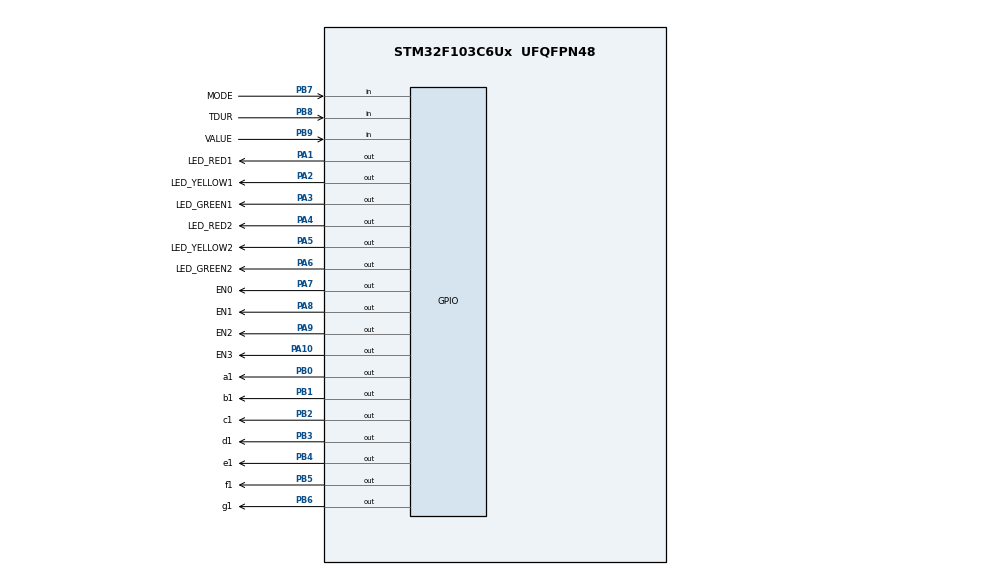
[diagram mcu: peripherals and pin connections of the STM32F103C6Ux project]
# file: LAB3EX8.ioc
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Mcu.Family=STM32F1
Mcu.Name=STM32F103C6Ux
Mcu.Package=UFQFPN48
NVIC.PriorityGroup=NVIC_PRIORITYGROUP_4
NVIC.TIM2_IRQn=true\:0\:0\:false\:false\:true\:true\:true
PA1.GPIO_Label=LED_RED1
PA1.Signal=GPIO_Output
PA10.GPIO_Label=EN3
PA10.Signal=GPIO_Output
PA2.GPIO_Label=LED_YELLOW1
PA2.Signal=GPIO_Output
PA3.GPIO_Label=LED_GREEN1
PA3.Signal=GPIO_Output
PA4.GPIO_Label=LED_RED2
PA4.Signal=GPIO_Output
PA5.GPIO_Label=LED_YELLOW2
PA5.Signal=GPIO_Output
PA6.GPIO_Label=LED_GREEN2
PA6.Signal=GPIO_Output
PA7.GPIO_Label=EN0
PA7.Signal=GPIO_Output
PA8.GPIO_Label=EN1
PA8.Signal=GPIO_Output
PA9.GPIO_Label=EN2
PA9.Signal=GPIO_Output
PB0.GPIO_Label=a1
PB0.Signal=GPIO_Output
PB1.GPIO_Label=b1
PB1.Signal=GPIO_Output
PB2.GPIO_Label=c1
PB2.Signal=GPIO_Output
PB3.GPIO_Label=d1
PB3.Signal=GPIO_Output
PB4.GPIO_Label=e1
PB4.Signal=GPIO_Output
PB5.GPIO_Label=f1
PB5.Signal=GPIO_Output
PB6.GPIO_Label=g1
PB6.Signal=GPIO_Output
PB7.GPIO_Label=MODE
PB7.Signal=GPIO_Input
PB8.GPIO_Label=TDUR
PB8.Signal=GPIO_Input
PB9.GPIO_Label=VALUE
PB9.Signal=GPIO_Input
ProjectManager.HeapSize=0x200
ProjectManager.StackSize=0x400
ProjectManager.TargetToolchain=STM32CubeIDE
RCC.APB1Freq_Value=8000000
RCC.APB2Freq_Value=8000000
TIM2.Period=9
TIM2.Prescaler=7999
VP_SYS_VS_ND.Mode=No_Debug
VP_TIM2_VS_ClockSourceINT.Mode=Internal
board=custom

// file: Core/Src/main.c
/* USER CODE BEGIN Header */
/**
  ******************************************************************************
  * @file           : main.c
  * @brief          : Main program body
  ******************************************************************************
  * @attention
  *
  * <h2><center>&copy; Copyright (c) 2026 STMicroelectronics.
  * All rights reserved.</center></h2>
  *
  * This software component is licensed by ST under BSD 3-Clause license,
  * the "License"; You may not use this file except in compliance with the
  * License. You may obtain a copy of the License at:
  *                        opensource.org/licenses/BSD-3-Clause
  *
  ******************************************************************************
  */
/* USER CODE END Header */
#include "main.h"

/* USER CODE BEGIN Includes */
#include "input_reading.h"
#include "input_processing.h"
/* USER CODE END Includes */

/* USER CODE BEGIN PD */
#define MIN_TRAFFIC_DURATION        1U
#define MAX_TRAFFIC_DURATION        99U
#define SEVEN_SEGMENT_DIGIT_TIME_MS 200U
/* USER CODE END PD */

TIM_HandleTypeDef htim2;

/* USER CODE BEGIN PV */
volatile uint16_t trafficTick10ms = 0;
volatile uint32_t timerElapsedMs = 0;

uint8_t trafficState = 0;
uint8_t remainingSeconds = 3;

uint8_t redDuration = 5;
uint8_t amberDuration = 2;
uint8_t greenDuration = 3;
static uint8_t redDurationLocked = 0U;

uint8_t digitBuffer[4] = {0, 3, 0, 1};
uint8_t currentDigit = 0;
uint32_t lastScanMs = 0;
/* USER CODE END PV */

void SystemClock_Config(void);
static void MX_GPIO_Init(void);
static void MX_TIM2_Init(void);
/* USER CODE BEGIN PFP */
void setTrafficLights(uint8_t red1, uint8_t yellow1,
                      uint8_t green1, uint8_t red2,
                      uint8_t yellow2, uint8_t green2);
void display7SEG(int num);
void updateDisplayBuffer(uint8_t firstValue, uint8_t secondValue);
void applyTrafficState(void);
void nextTrafficState(void);
void updateTrafficDisplay(void);
void updateBlinkingLeds(uint8_t mode, uint8_t ledState);
static void disableAllDigits(void);
static void scan7SEG(void);
/* USER CODE END PFP */

/* USER CODE BEGIN 0 */

void setTrafficLights(uint8_t red1, uint8_t yellow1,
					  uint8_t green1, uint8_t red2,
					  uint8_t yellow2, uint8_t green2)
{
	HAL_GPIO_WritePin(LED_RED1_GPIO_Port, LED_RED1_Pin, red1? GPIO_PIN_SET: GPIO_PIN_RESET);
	HAL_GPIO_WritePin(LED_YELLOW1_GPIO_Port, LED_YELLOW1_Pin, yellow1? GPIO_PIN_SET: GPIO_PIN_RESET);
	HAL_GPIO_WritePin(LED_GREEN1_GPIO_Port, LED_GREEN1_Pin, green1? GPIO_PIN_SET: GPIO_PIN_RESET);
	HAL_GPIO_WritePin(LED_RED2_GPIO_Port, LED_RED2_Pin, red2? GPIO_PIN_SET: GPIO_PIN_RESET);
	HAL_GPIO_WritePin(LED_YELLOW2_GPIO_Port, LED_YELLOW2_Pin, yellow2? GPIO_PIN_SET: GPIO_PIN_RESET);
	HAL_GPIO_WritePin(LED_GREEN2_GPIO_Port, LED_GREEN2_Pin, green2? GPIO_PIN_SET: GPIO_PIN_RESET);
}

void display7SEG(int num)
{
    static const uint8_t code[10][7] = {
        {1,1,1,1,1,1,0}, // 0
        {0,1,1,0,0,0,0}, // 1
        {1,1,0,1,1,0,1}, // 2
        {1,1,1,1,0,0,1}, // 3
        {0,1,1,0,0,1,1}, // 4
        {1,0,1,1,0,1,1}, // 5
        {1,0,1,1,1,1,1}, // 6
        {1,1,1,0,0,0,0}, // 7
        {1,1,1,1,1,1,1}, // 8
        {1,1,1,1,0,1,1}  // 9
    };

    uint16_t pins[7] = {
        a1_Pin, b1_Pin, c1_Pin,
        d1_Pin, e1_Pin, f1_Pin, g1_Pin
    };

    if (num < 0 || num > 9) num = 0;
    for (uint8_t i = 0; i < 7; i++) {
        HAL_GPIO_WritePin(GPIOB, pins[i],
            code[num][i] ? GPIO_PIN_RESET : GPIO_PIN_SET);
    }
}

static void disableAllDigits(void)
{
    HAL_GPIO_WritePin(GPIOA, EN0_Pin | EN1_Pin | EN2_Pin | EN3_Pin, GPIO_PIN_SET);
}

static void scan7SEG(void)
{
    uint32_t now = HAL_GetTick();
    if ((uint32_t)(now - lastScanMs) < SEVEN_SEGMENT_DIGIT_TIME_MS) return;
    lastScanMs = now;

    disableAllDigits();
    display7SEG(digitBuffer[currentDigit]);

    switch (currentDigit) {
        case 0: HAL_GPIO_WritePin(EN0_GPIO_Port, EN0_Pin, GPIO_PIN_RESET); break;
        case 1: HAL_GPIO_WritePin(EN1_GPIO_Port, EN1_Pin, GPIO_PIN_RESET); break;
        case 2: HAL_GPIO_WritePin(EN2_GPIO_Port, EN2_Pin, GPIO_PIN_RESET); break;
        default: HAL_GPIO_WritePin(EN3_GPIO_Port, EN3_Pin, GPIO_PIN_RESET); break;
    }
    currentDigit = (uint8_t)((currentDigit + 1U) % 4U);
}

static uint8_t limitDisplayValue(uint16_t value)
{
    if (value < 1U) return 1U;
    if (value > 99U) return 99U;
    return (uint8_t)value;
}

void updateDisplayBuffer(uint8_t firstValue, uint8_t secondValue)
{
    firstValue = limitDisplayValue(firstValue);
    secondValue = limitDisplayValue(secondValue);

    digitBuffer[0] = firstValue / 10U;
    digitBuffer[1] = firstValue % 10U;
    digitBuffer[2] = secondValue / 10U;
    digitBuffer[3] = secondValue % 10U;
}

void applyTrafficState(void)
{
    switch (trafficState) {
        case 0: setTrafficLights(0, 0, 1, 1, 0, 0); break;
        case 1: setTrafficLights(0, 1, 0, 1, 0, 0); break;
        case 2: setTrafficLights(1, 0, 0, 0, 0, 1); break;
        case 3: setTrafficLights(1, 0, 0, 0, 1, 0); break;
        default:
            trafficState = 0;
            setTrafficLights(0, 0, 1, 1, 0, 0);
            break;
    }
}

void nextTrafficState(void)
{
    trafficState = (uint8_t)((trafficState + 1U) % 4U);
    switch (trafficState) {
        case 0: remainingSeconds = greenDuration; break;
        case 1: remainingSeconds = amberDuration; break;
        case 2:
            remainingSeconds = (redDuration > amberDuration)
                             ? (uint8_t)(redDuration - amberDuration) : 1U;
            break;
        case 3: remainingSeconds = amberDuration; break;
        default: remainingSeconds = greenDuration; break;
    }
    applyTrafficState();
}

void updateTrafficDisplay(void)
{
    uint8_t mode = get_current_mode();
    uint8_t value;

    if (mode == 1U) {
        uint16_t road1Value;
        uint16_t road2Value;

        switch (trafficState) {
            case 0:
                road1Value = remainingSeconds;
                road2Value = (uint16_t)remainingSeconds + amberDuration;
                break;
            case 1:
                road1Value = remainingSeconds;
                road2Value = remainingSeconds;
                break;
            case 2:
                road1Value = (uint16_t)remainingSeconds + amberDuration;
                road2Value = remainingSeconds;
                break;
            case 3:
            default:
                road1Value = remainingSeconds;
                road2Value = remainingSeconds;
                break;
        }

        updateDisplayBuffer(limitDisplayValue(road1Value),
                            limitDisplayValue(road2Value));
        return;
    }

    switch (mode) {
        case 2: value = get_red_edit_value(); break;
        case 3: value = get_amber_edit_value(); break;
        case 4: value = get_green_edit_value(); break;
        default: mode = 1U; value = remainingSeconds; break;
    }

    updateDisplayBuffer(value, mode);
}

void updateBlinkingLeds(uint8_t mode, uint8_t ledState)
{
    switch (mode) {
        case 2: setTrafficLights(ledState, 0, 0, ledState, 0, 0); break;
        case 3: setTrafficLights(0, ledState, 0, 0, ledState, 0); break;
        case 4: setTrafficLights(0, 0, ledState, 0, 0, ledState); break;
        default: break;
    }
}

static uint8_t clampDuration(uint8_t value, uint8_t minimum, uint8_t maximum)
{
    if (value < minimum) return minimum;
    if (value > maximum) return maximum;
    return value;
}

void setRedDuration(uint8_t value)
{
    redDuration = clampDuration(value,
                                (uint8_t)(2U * MIN_TRAFFIC_DURATION),
                                MAX_TRAFFIC_DURATION);

    if (amberDuration >= redDuration) {
        amberDuration = (uint8_t)(redDuration - MIN_TRAFFIC_DURATION);
    }

    greenDuration = (uint8_t)(redDuration - amberDuration);
    redDurationLocked = 1U;
}
void setAmberDuration(uint8_t value)
{
    uint8_t maximumAmber;

    if (redDurationLocked) {
        maximumAmber = (uint8_t)(redDuration - MIN_TRAFFIC_DURATION);
        amberDuration = clampDuration(value,
                                      MIN_TRAFFIC_DURATION,
                                      maximumAmber);
        greenDuration = (uint8_t)(redDuration - amberDuration);
        return;
    }

    maximumAmber = (uint8_t)(MAX_TRAFFIC_DURATION - greenDuration);
    amberDuration = clampDuration(value, MIN_TRAFFIC_DURATION, maximumAmber);
    redDuration = (uint8_t)(greenDuration + amberDuration);
}
void setGreenDuration(uint8_t value)
{
    uint8_t maximumGreen;

    if (redDurationLocked) {
        maximumGreen = (uint8_t)(redDuration - MIN_TRAFFIC_DURATION);
        greenDuration = clampDuration(value,
                                      MIN_TRAFFIC_DURATION,
                                      maximumGreen);
        amberDuration = (uint8_t)(redDuration - greenDuration);
        return;
    }

    maximumGreen = (uint8_t)(MAX_TRAFFIC_DURATION - amberDuration);
    greenDuration = clampDuration(value, MIN_TRAFFIC_DURATION, maximumGreen);
    redDuration = (uint8_t)(greenDuration + amberDuration);
}

uint8_t isRedDurationLocked(void)
{
    return redDurationLocked;
}
/* USER CODE END 0 */

int main(void)
{

  /* MCU Configuration--------------------------------------------------------*/

  /* Reset of all peripherals, Initializes the Flash interface and the Systick. */
  HAL_Init();

  /* Configure the system clock */
  SystemClock_Config();

  MX_GPIO_Init();
  MX_TIM2_Init();
  /* USER CODE BEGIN 2 */
  HAL_TIM_Base_Start_IT(&htim2);

  trafficState = 0;
  remainingSeconds = greenDuration;
  applyTrafficState();
  updateTrafficDisplay();

  uint32_t lastBlinkMs = 0;
  uint32_t lastSecondMs = timerElapsedMs;
  uint8_t blinkState = 0;
  uint8_t lastMode = 0;
  /* USER CODE END 2 */

  while (1)
  {

    /* USER CODE BEGIN 3 */
	    uint32_t now = timerElapsedMs;

	    fsm_for_input_processing();
	    processDurationButtons();
	    uint8_t mode = get_current_mode();

	    updateTrafficDisplay();
	    scan7SEG();

	    if (mode != lastMode) {
	        lastMode = mode;
	        if (mode == 1U) {
	            trafficState = 0U;
	            remainingSeconds = greenDuration;
	            lastSecondMs = now;
	            applyTrafficState();
	            updateTrafficDisplay();
	        } else {
	            lastBlinkMs = now;
	            blinkState = 1U;
	            updateBlinkingLeds(mode, blinkState);
	        }
	    }

	    if (mode == 1U) {
	        while ((uint32_t)(now - lastSecondMs) >= 1000U) {
	            lastSecondMs += 1000U;
	            if (remainingSeconds > 0U) remainingSeconds--;
	            if (remainingSeconds == 0U) nextTrafficState();
	            updateTrafficDisplay();
	        }
	    } else if ((uint32_t)(now - lastBlinkMs) >= 250U) {
	        lastBlinkMs += 250U;
	        blinkState ^= 1U;
	        updateBlinkingLeds(mode, blinkState);
	    }
  }
  /* USER CODE END 3 */
}

void SystemClock_Config(void)
{
  RCC_OscInitTypeDef RCC_OscInitStruct = {0};
  RCC_ClkInitTypeDef RCC_ClkInitStruct = {0};

  RCC_OscInitStruct.OscillatorType = RCC_OSCILLATORTYPE_HSI;
  RCC_OscInitStruct.HSIState = RCC_HSI_ON;
  RCC_OscInitStruct.HSICalibrationValue = RCC_HSICALIBRATION_DEFAULT;
  RCC_OscInitStruct.PLL.PLLState = RCC_PLL_NONE;
  if (HAL_RCC_OscConfig(&RCC_OscInitStruct) != HAL_OK)
  {
    Error_Handler();
  }
  RCC_ClkInitStruct.ClockType = RCC_CLOCKTYPE_HCLK|RCC_CLOCKTYPE_SYSCLK
                              |RCC_CLOCKTYPE_PCLK1|RCC_CLOCKTYPE_PCLK2;
  RCC_ClkInitStruct.SYSCLKSource = RCC_SYSCLKSOURCE_HSI;
  RCC_ClkInitStruct.AHBCLKDivider = RCC_SYSCLK_DIV1;
  RCC_ClkInitStruct.APB1CLKDivider = RCC_HCLK_DIV1;
  RCC_ClkInitStruct.APB2CLKDivider = RCC_HCLK_DIV1;

  if (HAL_RCC_ClockConfig(&RCC_ClkInitStruct, FLASH_LATENCY_0) != HAL_OK)
  {
    Error_Handler();
  }
}

static void MX_TIM2_Init(void)
{

  TIM_ClockConfigTypeDef sClockSourceConfig = {0};
  TIM_MasterConfigTypeDef sMasterConfig = {0};

  htim2.Instance = TIM2;
  htim2.Init.Prescaler = 7999;
  htim2.Init.CounterMode = TIM_COUNTERMODE_UP;
  htim2.Init.Period = 9;
  htim2.Init.ClockDivision = TIM_CLOCKDIVISION_DIV1;
  htim2.Init.AutoReloadPreload = TIM_AUTORELOAD_PRELOAD_DISABLE;
  if (HAL_TIM_Base_Init(&htim2) != HAL_OK)
  {
    Error_Handler();
  }
  sClockSourceConfig.ClockSource = TIM_CLOCKSOURCE_INTERNAL;
  if (HAL_TIM_ConfigClockSource(&htim2, &sClockSourceConfig) != HAL_OK)
  {
    Error_Handler();
  }
  sMasterConfig.MasterOutputTrigger = TIM_TRGO_RESET;
  sMasterConfig.MasterSlaveMode = TIM_MASTERSLAVEMODE_DISABLE;
  if (HAL_TIMEx_MasterConfigSynchronization(&htim2, &sMasterConfig) != HAL_OK)
  {
    Error_Handler();
  }

}

static void MX_GPIO_Init(void)
{
  GPIO_InitTypeDef GPIO_InitStruct = {0};

  /* GPIO Ports Clock Enable */
  __HAL_RCC_GPIOA_CLK_ENABLE();
  __HAL_RCC_GPIOB_CLK_ENABLE();

  /*Configure GPIO pin Output Level */
  HAL_GPIO_WritePin(GPIOA, LED_RED1_Pin|LED_YELLOW1_Pin|LED_GREEN1_Pin|LED_RED2_Pin
                          |LED_YELLOW2_Pin|LED_GREEN2_Pin|EN0_Pin|EN1_Pin
                          |EN2_Pin|EN3_Pin, GPIO_PIN_RESET);

  HAL_GPIO_WritePin(GPIOB, a1_Pin|b1_Pin|c1_Pin|d1_Pin
                          |e1_Pin|f1_Pin|g1_Pin, GPIO_PIN_RESET);

  GPIO_InitStruct.Pin = LED_RED1_Pin|LED_YELLOW1_Pin|LED_GREEN1_Pin|LED_RED2_Pin
                          |LED_YELLOW2_Pin|LED_GREEN2_Pin|EN0_Pin|EN1_Pin
                          |EN2_Pin|EN3_Pin;
  GPIO_InitStruct.Mode = GPIO_MODE_OUTPUT_PP;
  GPIO_InitStruct.Pull = GPIO_NOPULL;
  GPIO_InitStruct.Speed = GPIO_SPEED_FREQ_LOW;
  HAL_GPIO_Init(GPIOA, &GPIO_InitStruct);

  GPIO_InitStruct.Pin = a1_Pin|b1_Pin|c1_Pin|d1_Pin
                          |e1_Pin|f1_Pin|g1_Pin;
  GPIO_InitStruct.Mode = GPIO_MODE_OUTPUT_PP;
  GPIO_InitStruct.Pull = GPIO_NOPULL;
  GPIO_InitStruct.Speed = GPIO_SPEED_FREQ_LOW;
  HAL_GPIO_Init(GPIOB, &GPIO_InitStruct);

  GPIO_InitStruct.Pin = MODE_Pin|TDUR_Pin|VALUE_Pin;
  GPIO_InitStruct.Mode = GPIO_MODE_INPUT;
  GPIO_InitStruct.Pull = GPIO_NOPULL;
  HAL_GPIO_Init(GPIOB, &GPIO_InitStruct);

}

void Error_Handler(void)
{
  __disable_irq();
  while (1)
  {
  }
}

/************************ (C) COPYRIGHT STMicroelectronics *****END OF FILE****/
